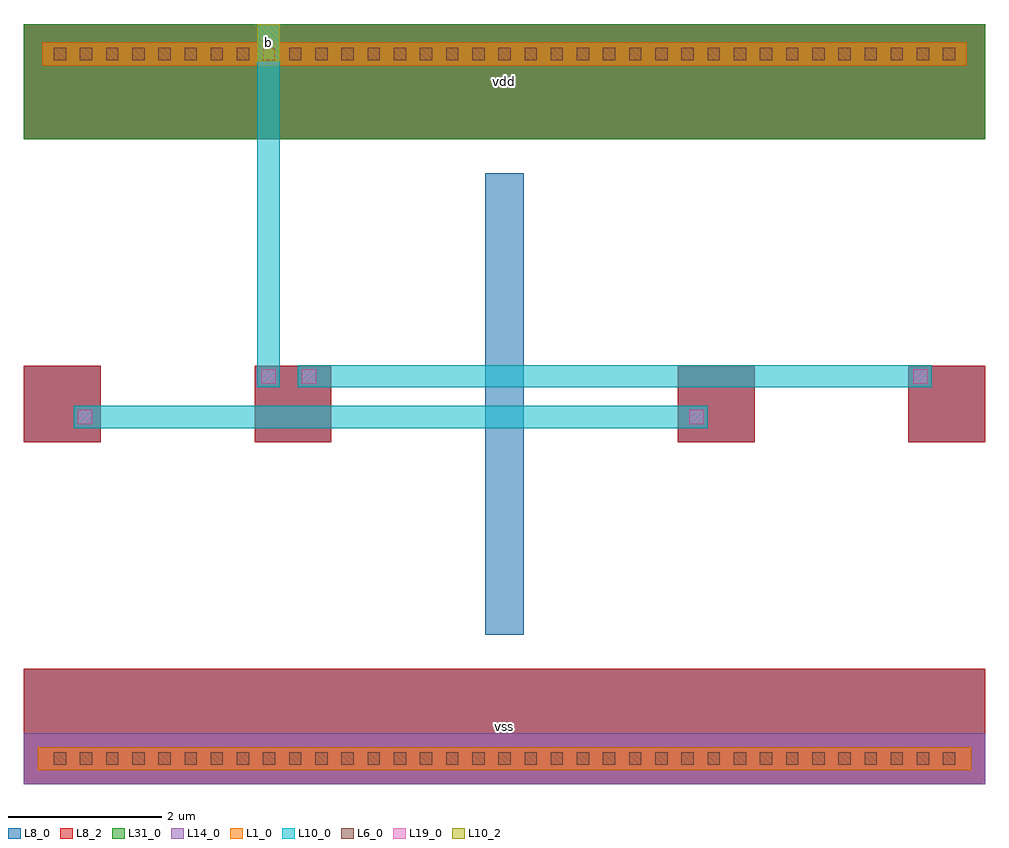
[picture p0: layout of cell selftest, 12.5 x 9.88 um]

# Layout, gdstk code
import gdstk
lib = gdstk.Library(unit=1e-6, precision=1e-09)
def R(c, l, rs):  # rectangles x0, y0, x1, y1
    for r in rs: c.add(gdstk.rectangle(r[:2], r[2:], *l))
def A(c, l, x, y, w, h, nx, ny, dx, dy):  # array of equal rectangles
    R(c, l, [(x+i*dx, y+j*dy, x+i*dx+w, y+j*dy+h) for i in range(nx) for j in range(ny)])
L1_0 = (1, 0)
L6_0 = (6, 0)
L8_0 = (8, 0)
L8_2 = (8, 2)
L10_0 = (10, 0)
L10_2 = (10, 2)
L14_0 = (14, 0)
L19_0 = (19, 0)
L31_0 = (31, 0)

pina = lib.new_cell('pinA')
R(pina, L8_0, [(0,0,1,1)])
R(pina, L8_2, [(0,0,1,1)])
pina.add(gdstk.Label('a', (0.5,0.5), layer=8, texttype=25))

pinc = lib.new_cell('pinC')
R(pinc, L8_0, [(0,0,1,1)])
R(pinc, L8_2, [(0,0,1,1)])
pinc.add(gdstk.Label('b', (0.5,0.5), layer=8, texttype=25))

wall = lib.new_cell('wall')
R(wall, L8_0, [(0,0,0.5,6)])

pinb = lib.new_cell('pinB')
R(pinb, L8_0, [(0,0,1,1)])
R(pinb, L8_2, [(0,0,1,1)])
pinb.add(gdstk.Label('a', (0.5,0.5), layer=8, texttype=25))

pind = lib.new_cell('pinD')
R(pind, L8_0, [(0,0,1,1)])
R(pind, L8_2, [(0,0,1,1)])
pind.add(gdstk.Label('b', (0.5,0.5), layer=8, texttype=25))

selftest = lib.new_cell('selftest')
R(selftest, L1_0, [(0.18,0.18,12.32,0.48), (0.24,9.34,12.26,9.64)])
A(selftest, L6_0, 0.39, 0.25, 0.16, 0.16, 35, 2, 0.34, 9.16)
R(selftest, L8_0, [(0,0,12.5,1.5), (0,8.38,12.5,9.88)])
R(selftest, L8_2, [(0,0,12.5,1.5), (0,8.38,12.5,9.88)])
R(selftest, L10_0, [(0.65,4.625,8.89,4.915), (3.035,5.155,3.325,9.685), (3.565,5.155,11.805,5.445), (3.035,9.395,3.325,9.88)])
R(selftest, L10_2, [(3.035,9.395,3.325,9.88)])
R(selftest, L14_0, [(0,0,12.5,0.66)])
R(selftest, L19_0, [(0.7,4.675,0.89,4.865), (8.65,4.675,8.84,4.865), (3.085,5.205,3.275,5.395), (3.615,5.205,3.805,5.395), (11.565,5.205,11.755,5.395)])
R(selftest, L31_0, [(0,8.38,12.5,9.88)])
selftest.add(gdstk.Reference(pina, (0,4.44)))
selftest.add(gdstk.Reference(pinc, (3,4.44)))
selftest.add(gdstk.Reference(wall, (6,1.94)))
selftest.add(gdstk.Reference(pinb, (8.5,4.44)))
selftest.add(gdstk.Reference(pind, (11.5,4.44)))
selftest.add(gdstk.Label('vdd', (6.25,9.13), layer=8, texttype=25))
selftest.add(gdstk.Label('vss', (6.25,0.75), layer=8, texttype=25))
selftest.add(gdstk.Label('b', (3.18,9.637), layer=10, texttype=25))

lib.write_gds('selftest.gds')
